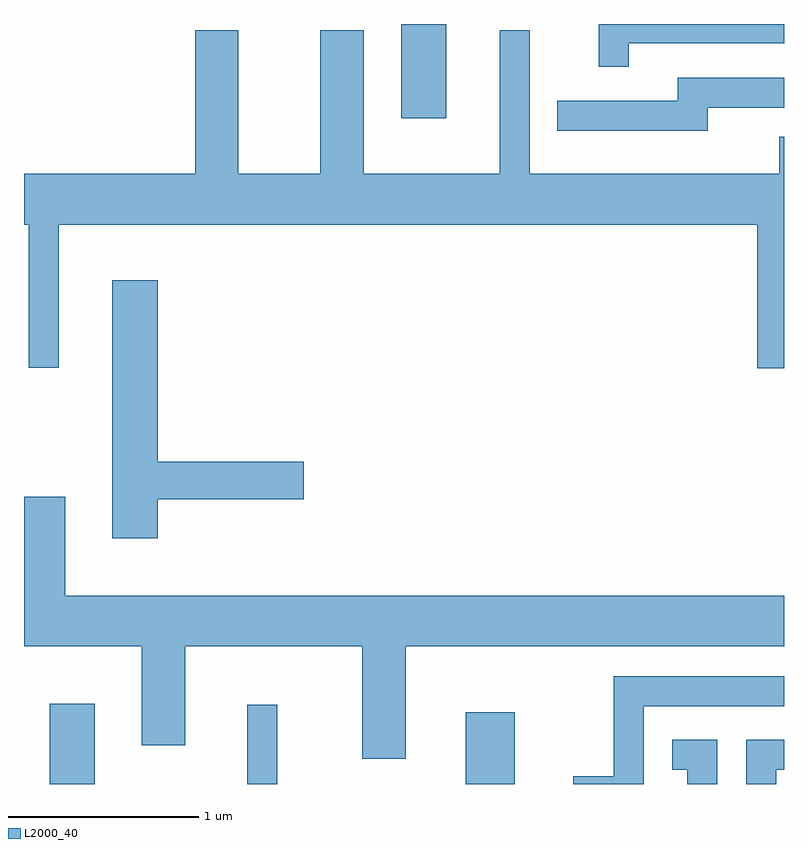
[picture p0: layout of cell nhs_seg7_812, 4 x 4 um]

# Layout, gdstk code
import gdstk
lib = gdstk.Library(unit=1e-6, precision=1e-09)
def R(c, l, rs):  # rectangles x0, y0, x1, y1
    for r in rs: c.add(gdstk.rectangle(r[:2], r[2:], *l))
def P(c, l, *ps):  # polygons
    for p in ps: c.add(gdstk.Polygon(p, *l))
L2000_40 = (2000, 40)

nhs_seg7_812 = lib.new_cell('nhs_seg7_812')
R(nhs_seg7_812, L2000_40, [(209.746,1720.252,209.984,1720.674), (210.786,1720.252,210.944,1720.668), (211.936,1720.252,212.194,1720.629), (211.596,1723.756,211.834,1724.252)])
P(nhs_seg7_812, L2000_40, [(212.794,1724.151),(213.611,1724.151),(213.611,1724.252),(212.636,1724.252),(212.636,1724.028),(212.794,1724.028)],
  [(213.611,1723.659),(213.586,1723.659),(213.586,1723.464),(212.274,1723.464),(212.274,1724.218),(212.116,1724.218),(212.116,1723.464),(211.399,1723.464),(211.399,1724.219),(211.171,1724.219),(211.171,1723.464),(210.739,1723.464),(210.739,1724.219),(210.511,1724.219),(210.511,1723.464),(209.611,1723.464),(209.611,1723.196),(209.636,1723.196),(209.636,1722.443),(209.794,1722.443),(209.794,1723.196),(213.471,1723.196),(213.471,1722.441),(213.611,1722.441)],
  [(213.209,1723.811),(213.611,1723.811),(213.611,1723.969),(213.051,1723.969),(213.051,1723.849),(212.418,1723.849),(212.418,1723.691),(213.209,1723.691)],
  [(210.314,1721.751),(211.084,1721.751),(211.084,1721.949),(210.314,1721.949),(210.314,1722.904),(210.076,1722.904),(210.076,1721.546),(210.314,1721.546)],
  [(211.619,1720.976),(213.611,1720.976),(213.611,1721.244),(209.829,1721.244),(209.829,1721.764),(209.611,1721.764),(209.611,1720.976),(210.231,1720.976),(210.231,1720.456),(210.459,1720.456),(210.459,1720.976),(211.391,1720.976),(211.391,1720.386),(211.619,1720.386)],
  [(212.874,1720.661),(213.611,1720.661),(213.611,1720.819),(212.716,1720.819),(212.716,1720.294),(212.501,1720.294),(212.501,1720.252),(212.874,1720.252)],
  [(213.569,1720.326),(213.611,1720.326),(213.611,1720.484),(213.411,1720.484),(213.411,1720.252),(213.569,1720.252)],
  [(213.259,1720.484),(213.023,1720.484),(213.023,1720.326),(213.101,1720.326),(213.101,1720.252),(213.259,1720.252)])

lib.write_gds('nhs_seg7_812.gds')
